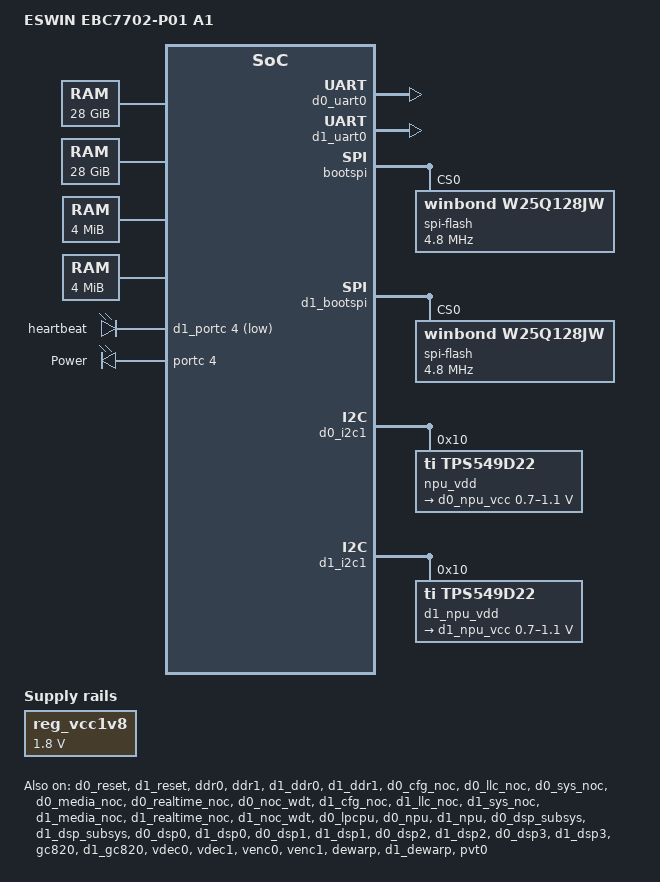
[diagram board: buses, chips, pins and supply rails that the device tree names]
// SPDX-License-Identifier: GPL-2.0
/*
 * Device Tree file for Eswin EIC7700 SoC.
 *
 * Copyright 2024, Beijing ESWIN Computing Technology Co., Ltd.. All rights reserved.
 * SPDX-License-Identifier: GPL-2.0
 *
 * This program is free software: you can redistribute it and/or modify
 * it under the terms of the GNU General Public License as published by
 * the Free Software Foundation, version 2.
 *
 * This program is distributed in the hope that it will be useful,
 * but WITHOUT ANY WARRANTY; without even the implied warranty of
 * MERCHANTABILITY or FITNESS FOR A PARTICULAR PURPOSE.  See the
 * GNU General Public License for more details.
 *
 * You should have received a copy of the GNU General Public License
 * along with this program.  If not, see <https://www.gnu.org/licenses/>.
 */

/dts-v1/;

#define RTCCLK_FREQ		1000000
#define LSPCLK_FREQ		200000000

/* If wanna enable ECC capability of DDR, should reserve highest zone of 1/8 all space for it */
#define MEMORY_SIZE_H		0x7
#define MEMORY_SIZE_L		0x0
#define CMA_SIZE		0x20000000

#include "eswin-win2030-die0-soc.dtsi"
#include "eswin-win2030-die1-soc.dtsi"

#include "eic7x-die0-pinctrl.dtsi"
#include "eic7x-die1-pinctrl.dtsi"
#include <dt-bindings/interrupt-controller/irq.h>
#include <dt-bindings/gpio/gpio.h>
#include <dt-bindings/input/input.h>

/* Clock frequency (in Hz) of the PCB crystal for rtcclk */

/ {
	#address-cells = <2>;
	#size-cells = <2>;
	model = "ESWIN EBC7702-P01 A1";
	compatible = "eswin,eic7x";

	aliases {
		serial0 = &d0_uart0;
		rtc0 = &die0_rtc;
		rtc1 = &d1_rtc;
	};

	chosen {
		stdout-path = "serial0:115200n8";
	};

	cpus {
		timebase-frequency = <RTCCLK_FREQ>;
	};

	memory@80000000 {
		device_type = "memory";
		reg = <0x0 0x80000000 MEMORY_SIZE_H MEMORY_SIZE_L>;
		numa-node-id = <0>;
	};

	memory@2000000000 {
		device_type = "memory";
		reg = <0x20 0x00000000 MEMORY_SIZE_H MEMORY_SIZE_L>;
		numa-node-id = <1>;
	};

	memory@59000000 {
		device_type = "memory";
		reg = <0x0 0x59000000 0x0 0x400000>;
		numa-node-id = <0>;
	};

	memory@79000000 {
		device_type = "memory";
		reg = <0x0 0x79000000 0x0 0x400000>;
		numa-node-id = <1>;
	};

	reserved-memory {
		#address-cells = <2>;
		#size-cells = <2>;
		ranges;

		linux,cma {
			compatible = "shared-dma-pool";
			reusable;
			size = <0x0 CMA_SIZE>;
			alignment = <0x0 0x1000>;
			alloc-ranges = <0x20 0x00000000 MEMORY_SIZE_H MEMORY_SIZE_L>;
			linux,cma-default;
		};

		npu0_reserved: sprammemory@59000000 {
			no-map;
			reg = <0x0 0x59000000 0x0 0x400000>;
		};

		npu1_reserved: sprammemory@79000000 {
			no-map;
			reg = <0x0 0x79000000 0x0 0x400000>;
		};

		ramoops@fff00000 {
			compatible = "ramoops";
			reg = <0x0 0xfff00000 0x0 0x100000>;
			console-size = <0x40000>;
			record-size = <0x40000>;
			ftrace-size = <0x40000>;
			pmsg-size = <0x40000>;
			no-map;
		};

		g2d_8GB_boundary_reserved_4k {
			no-map;
			reg = <0x1 0xfffff000 0x0 0x1000>;
		};

		g2d_12GB_boundary_reserved_4k {
			no-map;
			reg = <0x2 0xfffff000 0x0 0x1000>;
		};

		mmz_nid_0_part_0 {
			compatible = "eswin-reserve-memory";
			reg = <0x3 0x0 0x1 0x0>;
			no-map;
		};

		nid_1_zero_device_simu: nid_1_zero_device_simu@2040000000 {
			no-map;
			reg = <0x20 0x40000000 0x0 0x400000>;
		};

		d1_g2d_4GB_boundary_reserved_4k {
			no-map;
			reg = <0x20 0xfffff000 0x0 0x1000>;
		};

		d1_g2d_8GB_boundary_reserved_4k {
			no-map;
			reg = <0x21 0xfffff000 0x0 0x1000>;
		};

		mmz_nid_1_part_0 {
			compatible = "eswin-reserve-memory";
			reg = <0x22 0x80000000 0x1 0x0>;
			no-map;
		};

		pci_phys_mem_0 {
			compatible = "eswin-reserve-memory";
			reg = <0x80 0x0 0x20 0x0>;
			no-map;
		};

		rpc_reserved:rpc_reserved@100000000 {
			reg = <0x1 0x0 0 0x1000>;
			no-map;
		};

		commu_reserved:commu_reserved@100001000 {
			reg = <0x1 0x1000 0 0x10000>;
			no-map;
		};

		kernel_debug_reserved:kernel_debug_reserved@100011000 {
			reg = <0x1 0x11000 0 0x100000>;
			no-map;
		};

		pgretire_reserved:pgretire_reserved@100111000 {
			reg = <0x1 0x111000 0 0x100000>;
			no-map;
		};

		configs_reserved:configs_reserved@100211000 {
			reg = <0x1 0x211000 0 0x1000>;
			no-map;
		};

		ipcm_vdev0vring0:vdev0vring0@100212000 {
			reg = <0x1 0x212000 0 0x100000>;
			no-map;
		};

		ipcm_vdev0vring1:vdev0vring1@100312000 {
			reg = <0x1 0x312000 0 0x100000>;
			no-map;
		};

		ipcm_vdev0buffer:vdev0buffer@100412000 {
			compatible = "shared-dma-pool";
			reg = <0x1 0x412000 0 0x4000000>; // pre is rx
			no-map;
		};

		rsc_table0:rsc_table0@104412000 {
			reg = <0x1 0x4412000 0 0x1000>;
			no-map;
		};

		version_table:version_table@104413000 {
			reg = <0x1 0x4413000 0 0x1000>;
			no-map;
		};

		bd_table:bd_table@104414000 {
			reg = <0x1 0x4414000 0 0x1000>;
			no-map;
		};

		usage_table:usage_table@104415000 {
			reg = <0x1 0x4415000 0 0x1000>;
			no-map;
		};

		share_memory {
			compatible = "eswin,shm";
			#address-cells = <2>;
			#size-cells = <2>;
			phys-base = <0x1 0x4416000>;
			virt-base = <0x1 0x4416000>;
			shm-size = <0xb7ea000>;
			reg = <0x1 0x4416000 0 0xb7ea000>;
		};

		pci_phys_mem_1 {
			compatible = "eswin-reserve-memory";
			reg = <0x1 0xFC00000 0 0x400000>;
			no-map;
		};

		/* die 1 share memory*/
		pci_phys_mem_2 {
			compatible = "eswin-reserve-memory";
			reg = <0xa0 0x0 0x20 0x0>;
			no-map;
		};

		rpc_reserved1:rpc_reserved1@2080000000 {
			reg = <0x20 0x80000000 0 0x1000>;
			no-map;
		};

		commu_reserved1:commu_reserved1@2080001000 {
			reg = <0x20 0x80001000 0 0x10000>;
			no-map;
		};

		kernel_debug_reserved1:kernel_debug_reserved1@2080011000 {
			reg = <0x20 0x80011000 0 0x100000>;
			no-map;
		};

		pgretire_reserved1:pgretire_reserved1@2080111000 {
			reg = <0x20 0x80111000 0 0x100000>;
			no-map;
		};

		configs_reserved1:configs_reserved1@2080211000 {
			reg = <0x20 0x80211000 0 0x1000>;
			no-map;
		};

		ipcm_vdev1vring0:vdev1vring0@2080212000 {
			reg = <0x20 0x80212000 0 0x100000>;
			no-map;
		};

		ipcm_vdev1vring1:vdev1vring1@2080312000 {
			reg = <0x20 0x80312000 0 0x100000>;
			no-map;
		};

		ipcm_vdev1buffer:vdev1buffer@2080412000 {
			compatible = "shared-dma-pool";
			reg = <0x20 0x80412000 0 0x4000000>; // pre is rx
			no-map;
		};

		rsc_table1:rsc_table1@2084412000 {
			reg = <0x20 0x84412000 0 0x1000>;
			no-map;
		};

		version_table1:version_table1@2084413000 {
			reg = <0x20 0x84413000 0 0x1000>;
			no-map;
		};

		bd_table1:bd_table1@2084414000 {
			reg = <0x20 0x84414000 0 0x1000>;
			no-map;
		};

		usage_table1:usage_table@2084415000 {
			reg = <0x20 0x84415000 0 0x1000>;
			no-map;
		};

		share_memory1 {
			compatible = "eswin,shm";
			#address-cells = <2>;
			#size-cells = <2>;
			phys-base = <0x20 0x84416000>;
			virt-base = <0x20 0x84416000>;
			shm-size = <0xb7ea000>;
			reg = <0x20 0x84416000 0 0xb7ea000>;
		};

		pci_phys_mem_3 {
			compatible = "eswin-reserve-memory";
			reg = <0x20 0x8FC00000 0 0x400000>;
			no-map;
		};
	};

	soc {
		d0_ipcm:ipcm@0 {
			compatible = "eswin,ipcm", "simple-bus";
			#address-cells = <2>;
			#size-cells = <2>;
			vf_id = <0>;
			numa-node-id = <0>;
			memory-region = <&ipcm_vdev0vring0>,<&ipcm_vdev0vring1>,<&ipcm_vdev0buffer>;
			interrupt-parent = <&plic0>;
			interrupts = <123>;
		  	smmu_dev = <&smmu_cfg_0>;
		};

		d1_ipcm:ipcm@1 {
			compatible = "eswin,ipcm", "simple-bus";
			#address-cells = <2>;
			#size-cells = <2>;
			vf_id = <0>;
			numa-node-id = <1>;
			memory-region = <&ipcm_vdev1vring0>,<&ipcm_vdev1vring1>,<&ipcm_vdev1buffer>;
			interrupt-parent = <&plic1>;
			interrupts = <123>;
			smmu_dev = <&smmu_cfg_1>;
		};

		dev_smmu_cfg: smmu_cfg@0 {
			compatible = "eswin,vpu7702_dev_smmu_cfg";
			#size-cells = <2>;
			dma-ranges = <0x0 0x20000000 0x0 0xc0000000 0x0 0xc0000000>;
			iommus = <&smmu0 WIN2030_SID_DEV_FOO_B>;
			iommu-map = <0x000000 &smmu0 0xff0000 0xffffff>;
			tbus = <WIN2030_TBUID_PCIE>;
			status = "okay";
			numa-node-id = <0>;
			dma-noncoherent;
                        #include "smmu_cfg.dtsi"
		};

		dev_smmu_cfg_d1: smmu_cfg@1 {
			compatible = "eswin,vpu7702_dev_smmu_cfg";
			#size-cells = <2>;
			dma-ranges = <0x0 0x80000000 0x0 0xc0000000 0x0 0xc0000000>;
			iommus = <&smmu1 WIN2030_SID_DEV_FOO_B>;
			iommu-map = <0x000000 &smmu1 0xff0000 0xffffff>;
			tbus = <WIN2030_TBUID_PCIE>;
			status = "okay";
			numa-node-id = <1>;
			dma-noncoherent;
			#include "smmu_cfg_die1.dtsi"
		};
	};


	distance-map {
		compatible = "numa-distance-map-v1";
		distance-matrix = <0 0 10>,
				<0 1 100>,
				<1 0 100>,
				<1 1 10>;
	};

	/* die1 gpio68 system led */
	leds {
		compatible = "gpio-leds";
		pinctrl-names = "default";
		pinctrl-0 = <&pinctrl_die1_gpio68_default>, <&pinctrl_die0_gpio68_default>;

		gpio-68 {
			gpios = <&d1_portc 4 GPIO_ACTIVE_LOW>;
			label = "heartbeat";
			linux,default-trigger = "heartbeat";
		};
		power {
			label = "Power";
			gpios = <&portc 4 GPIO_ACTIVE_HIGH>;
			linux,default-trigger = "default-on";
		};
	};
	reg_vcc1v8: vcc1v8 {
		compatible = "regulator-fixed";
		regulator-name = "vcc1v8";
		regulator-min-microvolt = <1800000>;
		regulator-max-microvolt = <1800000>;
	};
};

&D1CACHE {
	status = "okay";
	d1_zero_device: zero-device@3a000000 {
		compatible = "l3,zero-device";
		/*reg = <0x0 0x3a000000 0x0 0x400000>;*/
		memory-region = <&nid_1_zero_device_simu>;
	};
};

&d0_trip_threshold {
	temperature = <60000>;
};
&d0_trip_target {
	temperature = <70000>;
};
&d0_trip_crit {
	temperature = <75000>;
};

&d1_trip_threshold {
	temperature = <60000>;
};
&d1_trip_target {
	temperature = <70000>;
};
&d1_trip_crit {
	temperature = <75000>;
};

&d0_clock {
	status = "okay";
	pinctrl-names = "default";
	pinctrl-0 = <&pinctrl_die0_gpio27_default>;
	cpu-voltage-gpios = <&porta 27 GPIO_ACTIVE_HIGH>;
	cpu-suspend-frequency = <CLK_FREQ_1400M>;
};
&d1_clock {
	status = "okay";
	cpu-voltage-gpios = <&porta 27 GPIO_ACTIVE_HIGH>;
	cpu-suspend-frequency = <CLK_FREQ_1400M>;
};

&d0_reset {
	status = "okay";
};
&d1_reset {
	status = "okay";
};

&d0_pmu {
	status = "okay";
};
&d1_pmu {
	status = "okay";
};

&ddr0 {
	status = "okay";
};

&ddr1 {
	status = "okay";
};

&d1_ddr0 {
	status = "okay";
};

&d1_ddr1 {
	status = "okay";
};

&smmu0 {
	status = "okay";
};
&smmu1 {
	status = "okay";
};

&smmu_pmu0 {
	status = "disabled";
};
&smmu_pmu1 {
	status = "disabled";
};


&dev_foo_a {
	status = "disabled";
};

&d0_cfg_noc {
	status = "okay";
};

&d0_llc_noc {
	status = "okay";
	stat,0 = "TracePort:ddr0_p0_req";
	stat,1 = "TracePort:ddr1_p0_req";
	//latency,0 = "TracePort:llcnoc_trans_probe";
	//pending,0 = "TracePort:llcnoc_trans_probe";
};

&d0_sys_noc {
	status = "okay";

	//eswin,DSPT-qos-owner;
	//eswin,NPU-qos-owner;
	//eswin,SPISLV_TBU3-qos-owner;

	stat,0 = "TracePort:ddr0_p1_req",
		 "InitFlow:mcput_snoc_mp/I/0";

	stat,1 = "TracePort:ddr0_p2_req",
		 "InitFlow:dspt_snoc/I/0",
		 "AddrBase:0x81000000", "AddrSize:0x30",
		 "Opcode:RdWrLockUrg", "Status:ReqRsp", "Length:0x8000", "Urgency:0x0";

	stat,2 = "TracePort:ddr1_p1_req",
		 "Status:Req", "AddrSize:0x28";

	stat,3 = "TracePort:ddr1_p2_req";

	latency,0 = "TracePort:sysnoc_trans_probe_0", "AddrSize:0x0";
	latency,1 = "TracePort:sysnoc_trans_probe_1","Mode:latency","AddrBase:0x82000000","AddrSize:0x28","Opcode:RdWr";
	//latency,2 = "TracePort:sysnoc_trans_probe_2";

	//pending,0 = "TracePort:sysnoc_trans_probe_0";
	//pending,1 = "TracePort:sysnoc_trans_probe_1","Mode:latency","AddrBase:0x82000000","AddrSize:0x0","Opcode:RdWr";
	pending,0 = "TracePort:sysnoc_trans_probe_2", "AddrSize:0x3";
};

&d0_media_noc {
	status = "okay";

	//eswin,GPU-qos-owner;
	//eswin,TBU2-qos-owner;
	//eswin,VC-qos-owner;

	stat,0 = "TracePort:ddr0_p3_req";
	stat,1 = "TracePort:ddr1_p3_req";
	//latency,0 = "TracePort:mnoc_trans_probe";
	//pending,0 = "TracePort:mnoc_trans_probe";
};

&d0_realtime_noc {
	status = "okay";

	//eswin,TBU0-qos-owner;
	//eswin,VO-qos-owner;

	stat,0 = "TracePort:ddr0_p4_req";
	stat,1 = "TracePort:ddr1_p4_req";
	//latency,0 = "TracePort:rnoc_trans_probe";
	//pending,0 = "TracePort:rnoc_trans_probe";
};

&d0_noc_wdt {
	status = "okay";
};

&d1_cfg_noc {
	status = "okay";
};

&d1_llc_noc {
	status = "okay";
	stat,0 = "TracePort:ddr0_p0_req";
	stat,1 = "TracePort:ddr1_p0_req";
	//latency,0 = "TracePort:llcnoc_trans_probe";
	//pending,0 = "TracePort:llcnoc_trans_probe";
};

&d1_sys_noc {
	status = "okay";

	//eswin,DSPT-qos-owner;
	//eswin,NPU-qos-owner;
	//eswin,SPISLV_TBU3-qos-owner;

	stat,0 = "TracePort:ddr0_p1_req",
		 "InitFlow:mcput_snoc_mp/I/0";

	stat,1 = "TracePort:ddr0_p2_req",
		 "InitFlow:dspt_snoc/I/0",
		 "AddrBase:0x81000000", "AddrSize:0x30",
		 "Opcode:RdWrLockUrg", "Status:ReqRsp", "Length:0x8000", "Urgency:0x0";

	stat,2 = "TracePort:ddr1_p1_req",
		 "Status:Req", "AddrSize:0x28";

	stat,3 = "TracePort:ddr1_p2_req";

	latency,0 = "TracePort:sysnoc_trans_probe_0", "AddrSize:0x0";
	latency,1 = "TracePort:sysnoc_trans_probe_1","Mode:latency","AddrBase:0x82000000","AddrSize:0x28","Opcode:RdWr";
	//latency,2 = "TracePort:sysnoc_trans_probe_2";

	//pending,0 = "TracePort:sysnoc_trans_probe_0";
	//pending,1 = "TracePort:sysnoc_trans_probe_1","Mode:latency","AddrBase:0x82000000","AddrSize:0x0","Opcode:RdWr";
	pending,0 = "TracePort:sysnoc_trans_probe_2", "AddrSize:0x3";
};

&d1_media_noc {
	status = "okay";

	//eswin,GPU-qos-owner;
	//eswin,TBU2-qos-owner;
	//eswin,VC-qos-owner;

	stat,0 = "TracePort:ddr0_p3_req";
	stat,1 = "TracePort:ddr1_p3_req";
	//latency,0 = "TracePort:mnoc_trans_probe";
	//pending,0 = "TracePort:mnoc_trans_probe";
};

&d1_realtime_noc {
	status = "okay";

	//eswin,TBU0-qos-owner;
	//eswin,VO-qos-owner;

	stat,0 = "TracePort:ddr0_p4_req";
	stat,1 = "TracePort:ddr1_p4_req";
	//latency,0 = "TracePort:rnoc_trans_probe";
	//pending,0 = "TracePort:rnoc_trans_probe";
};

&d1_noc_wdt {
	status = "okay";
};

&d0_ipc_scpu {
	status = "okay";
};
&d1_ipc_scpu {
	status = "okay";
};

&d0_lpcpu {
	status = "okay";
};
&d1_lpcpu {
	status = "disabled";
};

&pcie {
	status = "disabled";
};
&d1_pcie {
	status = "disabled";
};

&d0_npu{
	status = "okay";
	npu-supply=<&d0_npu_vcc>;
};
&d1_npu {
	status = "okay";
	npu-supply=<&d1_npu_vcc>;
};

&d0_dsp_subsys {
	status = "okay";
};
&d1_dsp_subsys {
	status = "okay";
};

&d0_dsp0 {
	status = "okay";
};
&d1_dsp0 {
	status = "okay";
};

&d0_dsp1 {
	status = "okay";
};
&d1_dsp1 {
	status = "okay";
};

&d0_dsp2 {
	status = "okay";
};
&d1_dsp2 {
	status = "okay";
};

&d0_dsp3 {
	status = "okay";
};
&d1_dsp3 {
	status = "okay";
};

&gpu0 {
	status = "disabled";
};
&d1_gpu {
	status = "disabled";
};

&gc820 {
	status = "okay";
};
&d1_gc820 {
	status = "okay";
};

&vdec0 {
	status = "okay";
};
&vdec1 {
	status = "okay";
};

&venc0 {
	status = "okay";
};
&venc1 {
	status = "okay";
};

&video_output {
	status = "disabled";
};

&d1_video_output {
	status = "disabled";
};

&dc {
	status = "disabled";
};

&d1_dc {
	status = "disabled";
};

&dc_test {
	status = "disabled";
};
&d1_dc_test {
	status = "disabled";
};

&virtual_display {
	status = "disabled";
};

&d1_virtual_display {
	status = "disabled";
};

&dsi_controller {
    status = "disabled";
};
&d1_dsi_controller {
	status = "disabled";
};

&dw_hdmi {
	status = "disabled";
};
&d1_dw_hdmi {
	status = "disabled";
};

&dw_hdmi_hdcp2 {
	status = "disabled";
};
&d1_dw_hdmi_hdcp2 {
	status = "disabled";
};


&d0_i2s0 {
	status = "disabled";
};

&d1_i2s0 {
	status = "disabled";
};

&d0_i2s1 {
	status = "disabled";
};

&d1_i2s1 {
	status = "disabled";
};

&d0_i2s2 {
	status = "disabled";
};

&d1_i2s2 {
	status = "disabled";
};

&d0_graphcard0 {
	status = "disabled";
};

&d0_graphcard1 {
	status = "disabled";
};

&d0_graphcard2 {
	status = "disabled";
};

&d1_graphcard0 {
	status = "disabled";
};

&d1_graphcard1 {
	status = "disabled";
};

&d1_graphcard2 {
	status = "disabled";
};

&isp_0 {
	status = "disabled";
};
&d1_isp_0 {
	status = "disabled";
};

&isp_1 {
	status = "disabled";
};
&d1_isp_1 {
	status = "disabled";
};

&dewarp {
	status = "okay";
};
&d1_dewarp {
	status = "okay";
};

&sdhci_emmc {
	status = "disabled";
};

&d1_sdhci_emmc {
	status = "disabled";
};

&sdio0 {
	status = "disabled";
};

&d1_sdio0 {
	status = "disabled";
};

&sdio1 {
	status = "disabled";
};

&d1_sdio1 {
	status = "disabled";
};

&d0_gmac0 {
	status = "disabled";
};

&d1_gmac0 {
	status = "disabled";
};

&d0_gmac1 {
	status = "disabled";
};

&d1_gmac1 {
	status = "disabled";
};

&d0_sata {
	status = "disabled";
};

&d1_sata {
	status = "disabled";
};

&d0_usbdrd3_0 {
	status = "disabled";
};
&d1_usbdrd3_0 {
	status = "disabled";
};

&d0_usbdrd_dwc3_0 {
	status = "disabled";
};

&d1_usbdrd_dwc3_0 {
	status = "disabled";
};

&d0_usbdrd3_1 {
	status = "disabled";
};

&d1_usbdrd3_1 {
	status = "disabled";
};

&d0_usbdrd_dwc3_1 {
	status = "disabled";
};

&d1_usbdrd_dwc3_1 {
	status = "disabled";
};

&d0_dmac0 {
	status = "okay";
};

&d1_dmac0 {
	status = "okay";
};

&d0_aon_dmac {
	status = "okay";
};

&d1_aon_dmac {
	status = "okay";
};

&d0_uart0 {
	/* debug */
	status = "okay";
};

&d1_uart0 {
	status = "okay";
};

&d0_uart1 {
	/* RS232 DB9 */
	status = "disabled";
};

&d1_uart1 {
	/* BT M.2 KEY-E */
	status = "disabled";
};

&d0_uart2 {
	/* pin header */
	status = "disabled";
};

&d1_uart2 {
	/* pin header */
	status = "disabled";
};

&d0_uart3 {
	/* unused */
	status = "disabled";
};

&d1_uart3 {
	/* unused */
	status = "disabled";
};

&d0_uart4 {
	/* unused */
	status = "disabled";
};

&d1_uart4 {
	/* unused */
	status = "disabled";
};

&ssi0 {
	status = "disabled";
};
&d1_ssi0 {
	status = "disabled";
};

&ssi1 {
	/* unused */
	status = "disabled";
};

&d1_ssi1 {
	/* unused */
	status = "disabled";
};

&bootspi {
	/* spi flash */
	status = "okay";
	num-cs = <1>;
	spi-flash@0 {
		compatible = "winbond,w25q128jw",
					"jedec,spi-nor";
		reg = <0>;
		#address-cells = <1>;
		#size-cells = <1>;
		spi-max-frequency = <4800000>;
		rx-sample-delay-ns = <10>;
	};
};

&d1_bootspi {
	/* spi flash */
	status = "okay";
	num-cs = <1>;
	spi-flash@0 {
		compatible = "winbond,w25q128jw",
					"jedec,spi-nor";
		reg = <0>;
		#address-cells = <1>;
		#size-cells = <1>;
		spi-max-frequency = <4800000>;
		rx-sample-delay-ns = <10>;
	};
};

&d0_mbox0 {
	status = "okay";
};
&d1_mbox0 {
	status = "okay";
};

&d0_mbox1 {
	status = "okay";
};
&d1_mbox1 {
	status = "okay";
};

&d0_mbox2 {
	status = "okay";
};
&d1_mbox2 {
	status = "okay";
};

&d0_mbox3 {
	status = "disabled";
};
&d1_mbox3 {
	status = "disabled";
};

&d0_mbox4 {
	status = "okay";
};
&d1_mbox4 {
	status = "okay";
};

&d0_mbox5 {
	status = "okay";
};
&d1_mbox5 {
	status = "okay";
};

&d0_mbox6 {
	status = "okay";
};
&d1_mbox6 {
	status = "okay";
};

&d0_mbox7 {
	status = "okay";
};
&d1_mbox7 {
	status = "okay";
};

&fan_control {
	status = "disabled";
};
&d1_fan_control {
	status = "disabled";
};

&d0_i2c0 {
	/* SOC1 ina226, used by lpcpu */
	status = "disabled";
};

&d1_i2c0 {
	status = "disabled";
};

&d0_i2c1 {
	/* d0 npu pmic */
	status = "okay";
	tps549d22@10 {
		compatible = "ti,tps549d22";
		reg = <0x10>;
		eswin,regulator_default-microvolt=<1000000>;
		eswin,regulator_label = "Supply VDD", "D0 NPU Voltage";
		label = "npu_vdd";
		regulators{
			d0_npu_vcc:npu_svcc{
				regulator-name="D0_NPU_SVCC";
				regulator-min-microvolt=<700000>;
				regulator-max-microvolt=<1100000>;
				regulator-min-microamp=<20000000>;
				regulator-max-microamp=<40000000>;
				regulator-ov-protection-microvolt=<1100000>;
			};
		};
	};
};
&d1_i2c1 {
	/* d1 npu pmic */
	status = "okay";
	tps549d22@10 {
		compatible = "ti,tps549d22";
		reg = <0x10>;
		eswin,regulator_default-microvolt=<1000000>;
		eswin,regulator_label = "Supply VDD1", "D1 NPU Voltage";
		label = "d1_npu_vdd";
		regulators{
			d1_npu_vcc:npu_svcc{
				regulator-name="D1_NPU_SVCC";
				regulator-min-microvolt=<700000>;
				regulator-max-microvolt=<1100000>;
				regulator-min-microamp=<20000000>;
				regulator-max-microamp=<40000000>;
				regulator-ov-protection-microvolt=<1100000>;
			};
		};
	};
};

&d0_i2c2 {
	/* SOC1&4 temp sensor, read by lpcpu */
	status = "disabled";
};

&d1_i2c2 {
	status = "disabled";
};

&d0_i2c3 {
	/* SOC2&4 serdes clk, configured by scpu&lpcpu */
	status = "disabled";
};
&d1_i2c3 {
	status = "disabled";
};

&d0_i2c4 {
	/* SOC1 ADS1115, accessed by lpcpu */
	status = "disabled";
};
&d1_i2c4 {
	status = "disabled";
};

&d0_i2c5 {
	/* SOC1 eeprom, read by lpcpu */
	status = "disabled";
};
&d1_i2c5 {
	status = "disabled";
};

&d0_i2c6 {
	/* unused */
	status = "disabled";
};
&d1_i2c6 {
	status = "disabled";
};

&d0_i2c7 {
	/* unused */
	status = "disabled";
};
&d1_i2c7 {
	status = "disabled";
};

&d0_i2c8 {
	status = "disabled";
};
&d1_i2c8 {
	status = "disabled";
};

&d0_i2c9 {
	/* unused */
	status = "disabled";
};
&d1_i2c9 {
	status = "disabled";
};

&d0_aon_i2c0 {
	/* SOC1 smbus, accessed by lpcpu */
	status = "disabled";
};

&d1_aon_i2c0 {
	status = "disabled";
};

&d0_aon_i2c1 {
	status = "disabled";
};

&d1_aon_i2c1 {
	status = "disabled";
};

&pwm0 {
	/* fan */
	status = "disabled";
};
&d1_pwm0 {
	status = "disabled";
};

&pvt0 {
	status = "okay";
	compatible = "eswin,eswin-dummy-pvt-cpu";
	eswin,syscon = <&d0_sys_con 0x0668>;
};

&d1_pvt0 {
	status = "okay";
	compatible = "eswin,eswin-dummy-pvt-cpu";
	eswin,syscon = <&d1_sys_con 0x0668>;
};

&pvt1 {
	status = "okay";
};
&d1_pvt1 {
	status = "okay";
};

&wdt0 {
	status = "disabled";
};
&d1_wdt0 {
	status = "disabled";
};

&wdt1 {
	status = "disabled";
};
&d1_wdt1 {
	status = "disabled";
};

&wdt2 {
	status = "disabled";
};
&d1_wdt2 {
	status = "disabled";
};

&wdt3 {
	status = "disabled";
};
&d1_wdt3 {
	status = "disabled";
};

&die0_rtc {
	status = "okay";
};
&d1_rtc {
	status = "okay";
};

&pinctrl {
	status = "okay";
};
&d1_pinctrl {
	status = "okay";
};

&gpio0 {
	status = "okay";
};
&d1_gpio0 {
	status = "okay";
};

&dev_llc_d0{
	/* apply_npu_1G_freq; */
	npu-supply=<&d0_npu_vcc>;
	status = "okay";
};
&d1_llc_dev{
	/* apply_npu_1G_freq; */
	npu-supply=<&d1_npu_vcc>;
	status = "okay";
};


